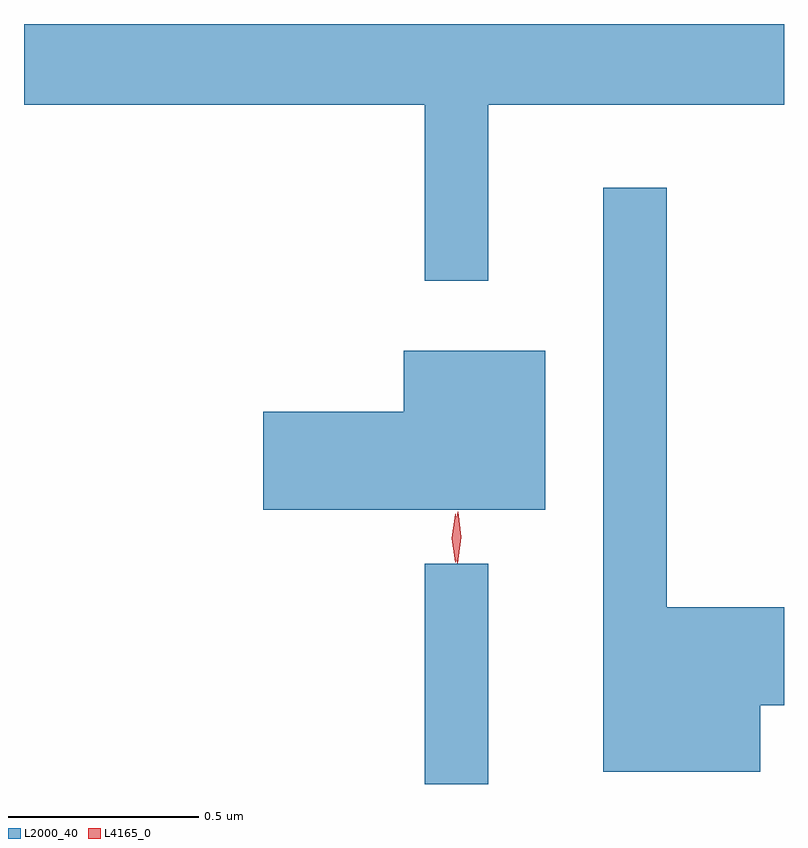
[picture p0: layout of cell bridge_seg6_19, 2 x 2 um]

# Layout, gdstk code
import gdstk
lib = gdstk.Library(unit=1e-6, precision=1e-09)
def R(c, l, rs):  # rectangles x0, y0, x1, y1
    for r in rs: c.add(gdstk.rectangle(r[:2], r[2:], *l))
def P(c, l, *ps):  # polygons
    for p in ps: c.add(gdstk.Polygon(p, *l))
L2000_40 = (2000, 40)
L4165_0 = (4165, 0)

bridge_seg6_19 = lib.new_cell('bridge_seg6_19')
R(bridge_seg6_19, L2000_40, [(1706.451,1585.989,1706.619,1586.568)])
P(bridge_seg6_19, L2000_40, [(1706.619,1587.776),(1707.397,1587.776),(1707.397,1587.989),(1705.397,1587.989),(1705.397,1587.776),(1706.451,1587.776),(1706.451,1587.313),(1706.619,1587.313)],
  [(1707.334,1586.196),(1707.397,1586.196),(1707.397,1586.454),(1707.089,1586.454),(1707.089,1587.558),(1706.921,1587.558),(1706.921,1586.021),(1707.334,1586.021)],
  [(1706.769,1587.129),(1706.396,1587.129),(1706.396,1586.969),(1706.026,1586.969),(1706.026,1586.711),(1706.769,1586.711)])
P(bridge_seg6_19, L4165_0, [(1706.537,1586.57),(1706.528,1586.638),(1706.539,1586.705),(1706.539,1586.706),(1706.54,1586.705),(1706.548,1586.638),(1706.538,1586.57),(1706.538,1586.57)],
  [(1706.532,1586.573),(1706.532,1586.573),(1706.522,1586.636),(1706.532,1586.699),(1706.532,1586.7),(1706.533,1586.699),(1706.542,1586.636),(1706.533,1586.573)])

lib.write_gds('bridge_seg6_19.gds')
